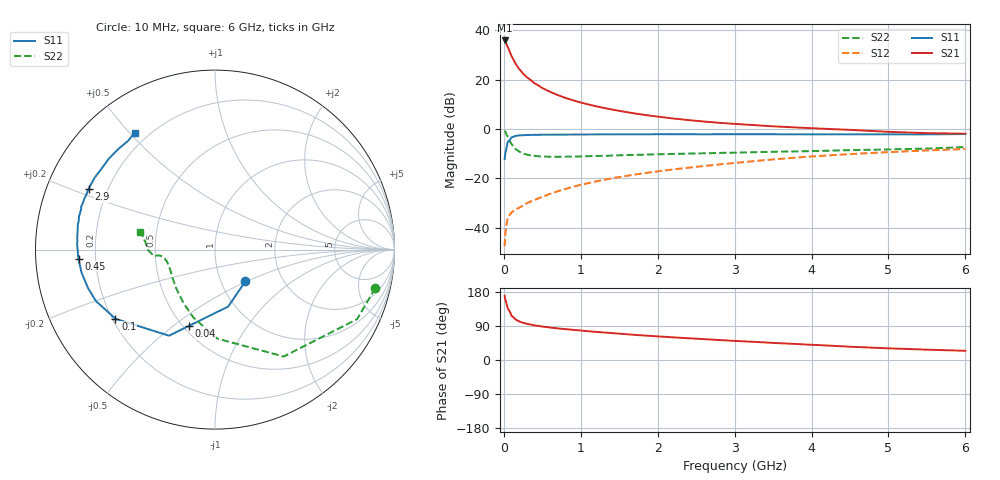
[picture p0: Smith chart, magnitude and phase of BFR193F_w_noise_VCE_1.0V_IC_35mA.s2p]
! (c) 2017  Infineon Technologies AG, Munich
! Infineon Technologies  Discrete & RF Semiconductors
! BFR193F
! VCE =  1.0 V,  IC =  35 mA
! Common Emitter S-Parameters:  Jan 2017
# GHz  S  MA  R  50
!  f  S11  S21  S12  S22
! GHz  MAG  ANG  MAG  ANG  MAG  ANG  MAG  ANG
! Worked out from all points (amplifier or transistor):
!   77 points, 10 MHz to 6 GHz, reference 50 ohm
!   highest |S21| = 35.9 dB at 10 MHz (marker M1)
!   |S21| within 3 dB of that: start of sweep to 55.99 MHz
!   unconditionally stable (mu >= 1): 759 MHz to 2.939 GHz
!   at 130 MHz: K = 0.45, MSG = 30.5 dB, |S12| = -33.1 dB
!   at 2.2 GHz: K = 1.03, MAG = 9.2 dB, |S12| = -16.4 dB
!   at 6 GHz: K = 0.92, MSG = 3.1 dB, |S12| = -8.1 dB
!   lowest NFmin = 1.26 dB at 450 MHz
!   S11 on the Smith chart (normalised r, x): 10 MHz: 1.31, -0.49; 40 MHz: 0.53, -0.57; 100 MHz: 0.21, -0.30; 450 MHz: 0.14, -0.03; 2.9 GHz: 0.13, +0.22; 6 GHz: 0.15, +0.52
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0.01  0.2446 -46.0  62.27 169.6  0.0042 81.0  0.9188 -13.5
0.02  0.3259 -77.0  59.51 159.0  0.0078 74.7  0.8812 -26.1
0.04  0.4501 -109.0  49.72 145.1  0.0129 58.9  0.7391 -45.4
0.05  0.5438 -118.1  46.25 136.2  0.0156 55.0  0.7081 -57.3
0.1  0.6753 -145.2  29.92 116.5  0.0202 47.3  0.4952 -88.8
0.15  0.723 -156.7  21.34 107.3  0.0233 44.8  0.3965 -107.7
0.2  0.739 -163.1  16.4 101.8  0.0253 46.6  0.3474 -120.0
0.25  0.7474 -167.6  13.26 98.1  0.0279 49.6  0.3172 -129.7
0.3  0.7548 -170.4  11.15 95.4  0.0313 52.2  0.3025 -136.5
0.4  0.7601 -174.8  8.417 91.2  0.0364 56.8  0.2836 -146.4
0.45  0.7617 -176.2  7.592 89.9  0.0391 58.7  0.2793 -149.5
0.6  0.7653 -180.0  5.668 85.7  0.0484 63.2  0.2734 -157.4
0.7  0.7686 178.0  4.871 83.4  0.0544 65.2  0.2733 -160.5
0.9  0.7711 174.7  3.807 79.6  0.0673 68.1  0.2753 -165.3
1.1  0.773 171.9  3.131 75.9  0.08 68.8  0.2808 -168.0
1.5  0.7776 167.4  2.326 69.5  0.1056 70.1  0.292 -171.6
2.1  0.7816 161.3  1.704 61.1  0.1443 69.9  0.3088 -173.8
2.9  0.7811 154.3  1.299 51.6  0.1973 68.3  0.3286 -174.1
3.1  0.7808 152.5  1.239 49.4  0.2113 67.6  0.3336 -174.1
4.1  0.7762 143.3  1.02 39.2  0.283 62.7  0.3585 -177.1
5.1  0.7765 133.0  0.863 30.1  0.3445 56.2  0.3875 174.7
6  0.7897 124.5  0.802 24.3  0.3922 50.5  0.429 166.5
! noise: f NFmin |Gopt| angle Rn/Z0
0.45  1.26  0.42  178  0.06
0.9  1.35  0.44  178  0.07
1.9  1.9  0.58  -166  0.08
2.4  2.2  0.61  -157  0.12
